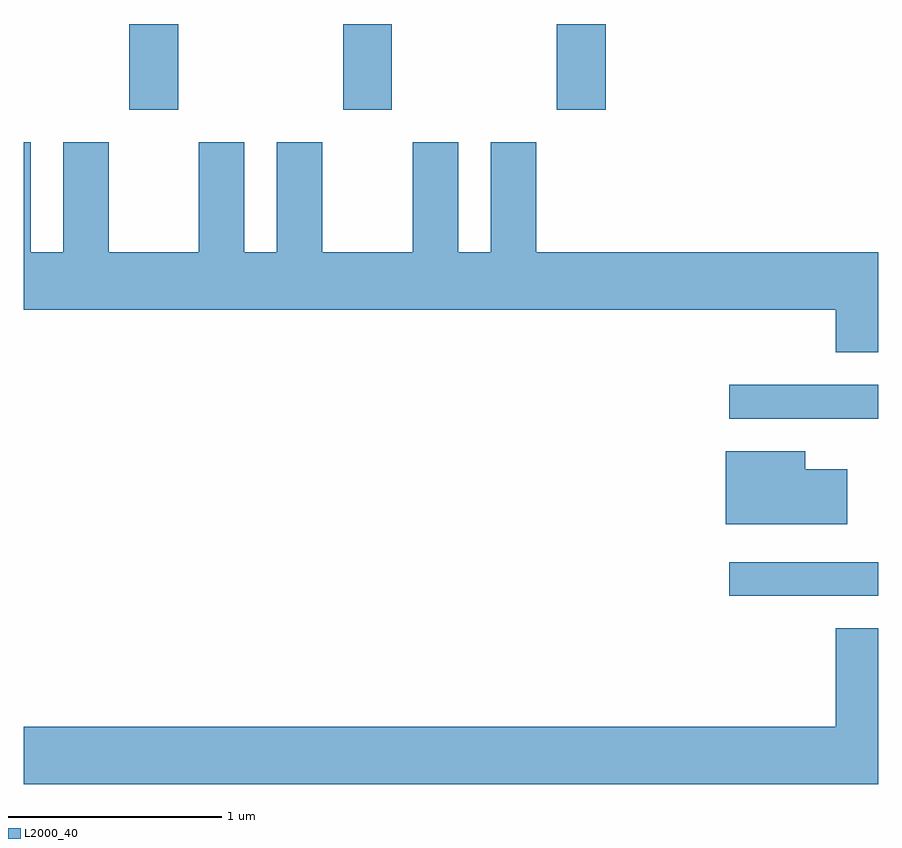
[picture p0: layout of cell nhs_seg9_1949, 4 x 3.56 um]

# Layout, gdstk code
import gdstk
lib = gdstk.Library(unit=1e-6, precision=1e-09)
def R(c, l, rs):  # rectangles x0, y0, x1, y1
    for r in rs: c.add(gdstk.rectangle(r[:2], r[2:], *l))
def A(c, l, x, y, w, h, nx, ny, dx, dy):  # array of equal rectangles
    R(c, l, [(x+i*dx, y+j*dy, x+i*dx+w, y+j*dy+h) for i in range(nx) for j in range(ny)])
def P(c, l, *ps):  # polygons
    for p in ps: c.add(gdstk.Polygon(p, *l))
L2000_40 = (2000, 40)

nhs_seg9_1949 = lib.new_cell('nhs_seg9_1949')
A(nhs_seg9_1949, L2000_40, 242.106, 2046.031, 0.228, 0.401, 3, 1, 1, 0)
R(nhs_seg9_1949, L2000_40, [(244.913,2043.756,245.611,2043.914), (244.913,2044.586,245.611,2044.744)])
P(nhs_seg9_1949, L2000_40, [(245.411,2044.896),(245.611,2044.896),(245.611,2045.364),(244.009,2045.364),(244.009,2045.879),(243.796,2045.879),(243.796,2045.364),(243.644,2045.364),(243.644,2045.879),(243.431,2045.879),(243.431,2045.364),(243.009,2045.364),(243.009,2045.879),(242.796,2045.879),(242.796,2045.364),(242.644,2045.364),(242.644,2045.879),(242.431,2045.879),(242.431,2045.364),(242.009,2045.364),(242.009,2045.879),(241.796,2045.879),(241.796,2045.364),(241.644,2045.364),(241.644,2045.879),(241.611,2045.879),(241.611,2045.096),(245.411,2045.096)],
  [(245.464,2044.349),(245.269,2044.349),(245.269,2044.434),(244.896,2044.434),(244.896,2044.091),(245.464,2044.091)],
  [(245.611,2043.604),(245.411,2043.604),(245.411,2043.144),(241.611,2043.144),(241.611,2042.876),(245.611,2042.876)])

lib.write_gds('nhs_seg9_1949.gds')
